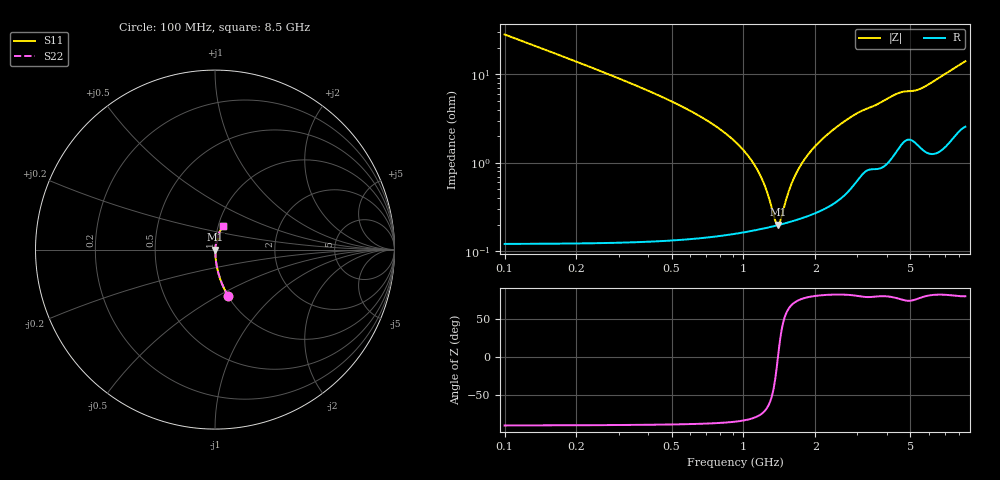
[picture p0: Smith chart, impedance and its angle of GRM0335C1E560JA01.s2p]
!Murata Part Number: GRM0335C1E560JA01
!These Parameters are Measured in Series Mode Connection
!Data Generated on Mar 30, 2021
!  o--ll--o
!Port1  Port2
!  o------o
!Operation Temp=25[degC], DC Bias Voltage=0[V]
!Freq. Start=100[MHz] Stop=9[GHz] 401[Steps]
# Hz S RI R 50
!Freq.(Hz) S11(Real) S11(Imag) S21(Real) S21(Imag) S12(Real) S12(Imag) S22(Real) S22(Imag)
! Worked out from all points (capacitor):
!   401 points, 100 MHz to 8.5 GHz, reference 50 ohm
!   read as one part in series: C = 56 pF near 142 MHz
!   lowest |Z| = 199 mohm at 1.402 GHz (marker M1)
!   series resonance near 1.395 GHz, so ESL is about 230 pH
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1e8  0.075 -0.2612  0.925 0.2612  0.925 0.2612  0.075 -0.2612
2.26e8  0.0159 -0.1203  0.9841 0.1203  0.9841 0.1203  0.0159 -0.1203
3.52e8  0.00693 -0.075  0.9931 0.075  0.9931 0.075  0.00693 -0.075
4.99e8  0.00377 -0.0494  0.9962 0.0494  0.9962 0.0494  0.00377 -0.0494
8.98e8  0.0019 -0.0185  0.9981 0.0185  0.9981 0.0185  0.0019 -0.0185
1.087e9  0.00181 -0.0102  0.9982 0.0102  0.9982 0.0102  0.00181 -0.0102
1.213e9  0.00184 -0.00571  0.9982 0.00571  0.9982 0.00571  0.00184 -0.00571
1.36e9  0.00194 -0.00103  0.9981 0.00103  0.9981 0.00103  0.00194 -0.00103
1.402e9  0.00198 0.000206  0.998 -0.000206  0.998 -0.000206  0.00198 0.000206
1.444e9  0.00202 0.00141  0.998 -0.00141  0.998 -0.00141  0.00202 0.00141
1.507e9  0.00209 0.00316  0.9979 -0.00316  0.9979 -0.00316  0.00209 0.00316
1.591e9  0.0022 0.00539  0.9978 -0.00539  0.9978 -0.00539  0.0022 0.00539
1.675e9  0.00232 0.00753  0.9977 -0.00753  0.9977 -0.00753  0.00232 0.00753
1.801e9  0.00253 0.0106  0.9975 -0.0106  0.9975 -0.0106  0.00253 0.0106
1.948e9  0.00281 0.014  0.9972 -0.014  0.9972 -0.014  0.00281 0.014
2.137e9  0.00325 0.0182  0.9968 -0.0182  0.9968 -0.0182  0.00325 0.0182
2.347e9  0.00386 0.0227  0.9961 -0.0227  0.9961 -0.0227  0.00386 0.0227
2.914e9  0.00684 0.034  0.9932 -0.034  0.9932 -0.034  0.00684 0.034
4.3e9  0.0155 0.056  0.9845 -0.056  0.9845 -0.056  0.0155 0.056
5.707e9  0.0182 0.0686  0.9818 -0.0686  0.9818 -0.0686  0.0182 0.0686
7.114e9  0.0256 0.0989  0.9744 -0.0989  0.9744 -0.0989  0.0256 0.0989
8.5e9  0.0425 0.1294  0.9575 -0.1294  0.9575 -0.1294  0.0425 0.1294
